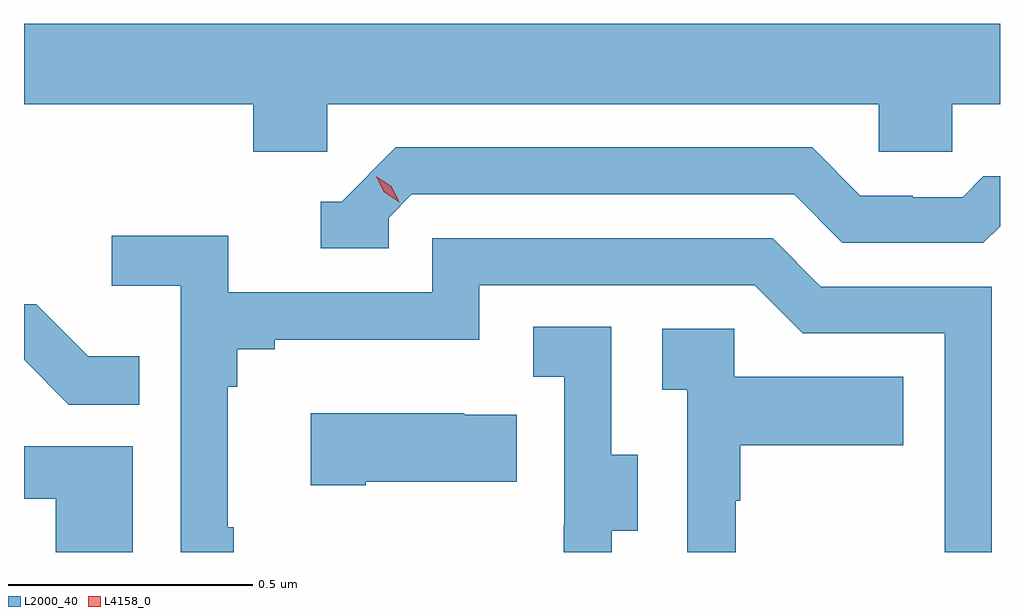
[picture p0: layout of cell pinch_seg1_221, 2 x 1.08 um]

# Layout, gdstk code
import gdstk
lib = gdstk.Library(unit=1e-6, precision=1e-09)
def P(c, l, *ps):  # polygons
    for p in ps: c.add(gdstk.Polygon(p, *l))
L2000_40 = (2000, 40)
L4158_0 = (4158, 0)

pinch_seg1_221 = lib.new_cell('pinch_seg1_221')
P(pinch_seg1_221, L2000_40, [(1001.064,567.716),(1002.195,567.716),(1002.195,567.618),(1002.345,567.618),(1002.345,567.716),(1002.443,567.716),(1002.443,567.88),(1000.443,567.88),(1000.443,567.716),(1000.913,567.716),(1000.913,567.618),(1001.064,567.618)],
  [(1001.19,567.483),(1001.238,567.531),(1002.021,567.531),(1002.12,567.432),(1002.409,567.432),(1002.443,567.466),(1002.443,567.568),(1002.409,567.568),(1002.367,567.525),(1002.264,567.525),(1002.264,567.528),(1002.157,567.528),(1002.058,567.627),(1001.205,567.627),(1001.094,567.516),(1001.051,567.516),(1001.051,567.42),(1001.19,567.42)],
  [(1000.873,566.849),(1000.861,566.849),(1000.861,567.137),(1000.88,567.137),(1000.88,567.214),(1000.957,567.214),(1000.957,567.233),(1001.376,567.233),(1001.376,567.345),(1001.94,567.345),(1002.039,567.246),(1002.33,567.246),(1002.33,566.798),(1002.426,566.798),(1002.426,567.342),(1002.076,567.342),(1001.977,567.441),(1001.28,567.441),(1001.28,567.33),(1000.862,567.33),(1000.862,567.446),(1000.623,567.446),(1000.623,567.344),(1000.764,567.344),(1000.764,566.798),(1000.873,566.798)],
  [(1000.679,567.199),(1000.575,567.199),(1000.468,567.306),(1000.443,567.306),(1000.443,567.192),(1000.535,567.1),(1000.679,567.1)],
  [(1001.647,566.842),(1001.701,566.842),(1001.701,566.997),(1001.646,566.997),(1001.646,567.26),(1001.487,567.26),(1001.487,567.157),(1001.55,567.157),(1001.55,566.853),(1001.549,566.853),(1001.549,566.798),(1001.647,566.798)],
  [(1001.901,566.903),(1001.911,566.903),(1001.911,567.017),(1002.245,567.017),(1002.245,567.157),(1001.898,567.157),(1001.898,567.255),(1001.751,567.255),(1001.751,567.131),(1001.802,567.131),(1001.802,566.798),(1001.901,566.798)],
  [(1001.143,566.942),(1001.453,566.942),(1001.453,567.079),(1001.345,567.079),(1001.345,567.082),(1001.031,567.082),(1001.031,566.935),(1001.143,566.935)],
  [(1000.666,567.015),(1000.443,567.015),(1000.443,566.907),(1000.508,566.907),(1000.508,566.798),(1000.666,566.798)])
P(pinch_seg1_221, L4158_0, [(1001.212,567.515),(1001.181,567.535),(1001.165,567.567),(1001.165,567.568),(1001.165,567.568),(1001.196,567.548),(1001.212,567.516),(1001.212,567.515)])

lib.write_gds('pinch_seg1_221.gds')
